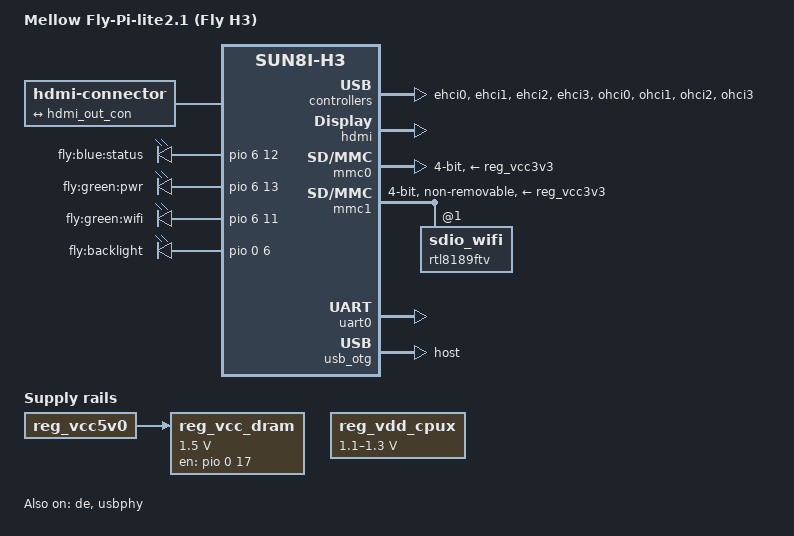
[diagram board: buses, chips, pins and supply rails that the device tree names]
// SPDX-License-Identifier: (GPL-2.0+ OR MIT)
/*
 * Device Tree Source for Mellow Fly-Pi-lite2.1 (Fly H3)
 * SoC: Allwinner H3 (sun8i), 512MB DDR3, onboard RTL8189FTV 2.4GHz Wi-Fi
 */

/dts-v1/;
#include "sun8i-h3.dtsi"
#include "sunxi-common-regulators.dtsi"

#include <dt-bindings/gpio/gpio.h>

/ {
	model = "Mellow Fly-Pi-lite2.1 (Fly H3)";
	compatible = "mellow,fly-h3", "allwinner,sun8i-h3";

	aliases {
		serial0 = &uart0;
		ethernet0 = &rtl8189ftv;
		mmc0 = &mmc0;
	};

	chosen {
		stdout-path = "serial0:115200n8";
	};

	connector {
		compatible = "hdmi-connector";
		type = "a";

		port {
			hdmi_con_in: endpoint {
				remote-endpoint = <&hdmi_out_con>;
			};
		};
	};

	leds {
		compatible = "gpio-leds";

		led-status {
			label = "fly:blue:status";
			gpios = <&pio 6 12 GPIO_ACTIVE_HIGH>; /* PG12 */
			linux,default-trigger = "heartbeat";
		};

		led-pwr {
			label = "fly:green:pwr";
			gpios = <&pio 6 13 GPIO_ACTIVE_HIGH>; /* PG13 */
			default-state = "on";
		};

		led-wifi {
			label = "fly:green:wifi";
			gpios = <&pio 6 11 GPIO_ACTIVE_HIGH>; /* PG11 */
			linux,default-trigger = "mmc1";
		};

		led-backlight {
			label = "fly:backlight";
			gpios = <&pio 0 6 GPIO_ACTIVE_HIGH>; /* PA6 */
			linux,default-trigger = "default-on";
			default-state = "on";
		};
	};

	reg_vdd_cpux: vdd-cpux-regulator {
		compatible = "regulator-gpio";
		regulator-name = "vdd-cpux";
		regulator-min-microvolt = <1100000>;
		regulator-max-microvolt = <1300000>;
		regulator-always-on;
		regulator-boot-on;
		regulator-ramp-delay = <50>;
		enable-active-high;
		gpios = <&pio 0 9 GPIO_ACTIVE_HIGH>; /* PA9 */
		states = <1100000 0x0>, <1300000 0x1>;
	};

	reg_vcc_dram: vcc-dram {
		compatible = "regulator-fixed";
		regulator-name = "vcc-dram";
		regulator-min-microvolt = <1500000>;
		regulator-max-microvolt = <1500000>;
		regulator-always-on;
		regulator-boot-on;
		enable-active-high;
		gpio = <&pio 0 17 GPIO_ACTIVE_HIGH>; /* PA17 */
		vin-supply = <&reg_vcc5v0>;
	};
};

&cpu0 {
	cpu-supply = <&reg_vdd_cpux>;
};

&de {
	status = "okay";
};

&ehci0 {
	status = "okay";
};

&ehci1 {
	status = "okay";
};

&ehci2 {
	status = "okay";
};

&ehci3 {
	status = "okay";
};

&hdmi {
	status = "okay";
};

&hdmi_out {
	hdmi_out_con: endpoint {
		remote-endpoint = <&hdmi_con_in>;
	};
};

&mmc0 {
	vmmc-supply = <&reg_vcc3v3>;
	bus-width = <4>;
	broken-cd;
	status = "okay";
};

&mmc1 {
	vmmc-supply = <&reg_vcc3v3>;
	bus-width = <4>;
	non-removable;
	status = "okay";

	rtl8189ftv: sdio_wifi@1 {
		reg = <1>;
	};
};

&ohci0 {
	status = "okay";
};

&ohci1 {
	status = "okay";
};

&ohci2 {
	status = "okay";
};

&ohci3 {
	status = "okay";
};

&uart0 {
	pinctrl-names = "default";
	pinctrl-0 = <&uart0_pa_pins>;
	status = "okay";
};

&usb_otg {
	dr_mode = "host";
	status = "okay";
};

&usbphy {
	status = "okay";
};
